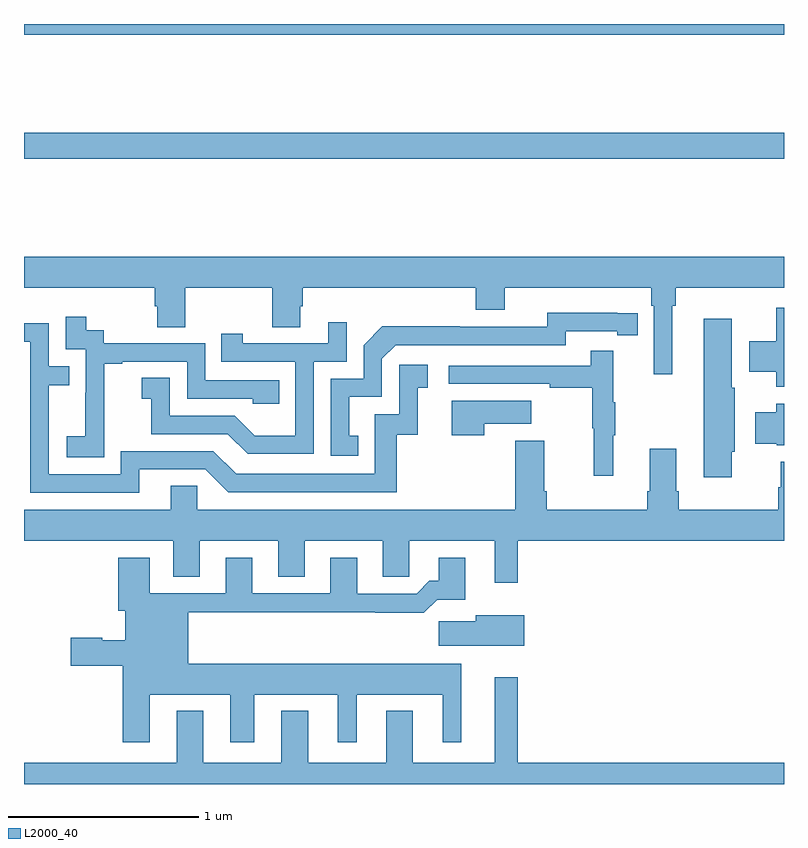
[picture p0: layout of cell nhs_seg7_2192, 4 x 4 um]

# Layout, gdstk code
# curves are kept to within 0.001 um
import gdstk
lib = gdstk.Library(unit=1e-6, precision=1e-09)
def R(c, l, rs):  # rectangles x0, y0, x1, y1
    for r in rs: c.add(gdstk.rectangle(r[:2], r[2:], *l))
def P(c, l, *ps):  # polygons
    for p in ps: c.add(gdstk.Polygon(p, *l))
L2000_40 = (2000, 40)

nhs_seg7_2192 = lib.new_cell('nhs_seg7_2192')
R(nhs_seg7_2192, L2000_40, [(255,1005.292,259,1005.428), (255,1005.944,259,1006)])
P(nhs_seg7_2192, L2000_40, [(258.412,1004.516),(258.431,1004.516),(258.431,1004.612),(259,1004.612),(259,1004.776),(255,1004.776),(255,1004.612),(255.689,1004.612),(255.689,1004.514),(255.701,1004.514),(255.701,1004.404),(255.849,1004.404),(255.849,1004.612),(256.306,1004.612),(256.306,1004.404),(256.453,1004.404),(256.453,1004.514),(256.466,1004.514),(256.466,1004.612),(257.378,1004.612),(257.378,1004.495),(257.53,1004.495),(257.53,1004.612),(258.302,1004.612),(258.302,1004.516),(258.315,1004.516),(258.315,1004.157),(258.412,1004.157)],
  [(259,1004.506),(258.959,1004.506),(258.959,1004.329),(258.816,1004.329),(258.816,1004.171),(258.959,1004.171),(258.959,1004.09),(259,1004.09)],
  [(256.76,1003.833),(256.711,1003.833),(256.711,1004.037),(256.884,1004.037),(256.884,1004.238),(256.956,1004.31),(257.85,1004.31),(257.85,1004.382),(258.122,1004.382),(258.122,1004.362),(258.23,1004.362),(258.23,1004.478),(257.754,1004.479),(257.754,1004.406),(257.294,1004.406),(257.294,1004.408),(256.886,1004.408),(256.788,1004.31),(256.788,1004.133),(256.614,1004.133),(256.614,1003.728),(256.76,1003.728)],
  [(255.423,1003.927),(255.422,1003.927),(255.422,1004.211),(255.517,1004.211),(255.517,1004.223),(255.858,1004.223),(255.858,1004.028),(256.203,1004.028),(256.203,1004.001),(256.343,1004.001),(256.343,1004.124),(255.954,1004.124),(255.954,1004.319),(255.42,1004.319),(255.42,1004.388),(255.328,1004.388),(255.328,1004.458),(255.219,1004.458),(255.219,1004.289),(255.324,1004.289),(255.324,1004.06),(255.323,1004.06),(255.323,1003.831),(255.225,1003.831),(255.225,1003.721),(255.423,1003.721)],
  [(258.724,1003.749),(258.742,1003.749),(258.742,1004.085),(258.724,1004.085),(258.724,1004.449),(258.578,1004.449),(258.578,1003.614),(258.724,1003.614)],
  [(256.524,1004.223),(256.698,1004.223),(256.698,1004.431),(256.601,1004.431),(256.601,1004.319),(256.15,1004.319),(256.15,1004.371),(256.039,1004.371),(256.039,1004.223),(256.428,1004.223),(256.428,1003.834),(256.214,1003.834),(256.11,1003.938),(255.768,1003.938),(255.768,1004.137),(255.621,1004.137),(255.621,1004.027),(255.67,1004.027),(255.67,1003.842),(256.073,1003.842),(256.178,1003.737),(256.524,1003.737)],
  [(255.607,1003.656),(255.954,1003.656),(256.074,1003.536),(256.961,1003.536),(256.961,1003.839),(257.072,1003.839),(257.072,1004.085),(257.125,1004.085),(257.125,1004.206),(256.974,1004.206),(256.974,1003.947),(256.845,1003.947),(256.845,1003.632),(256.116,1003.632),(255.996,1003.752),(255.51,1003.752),(255.51,1003.629),(255.129,1003.629),(255.129,1004.098),(255.239,1004.098),(255.239,1004.199),(255.129,1004.199),(255.129,1004.424),(255,1004.424),(255,1004.328),(255.033,1004.328),(255.033,1003.533),(255.607,1003.533)],
  [(258.101,1003.835),(258.112,1003.835),(258.112,1004.009),(258.101,1004.009),(258.101,1004.281),(257.983,1004.281),(257.983,1004.202),(257.235,1004.202),(257.235,1004.106),(257.767,1004.106),(257.767,1004.086),(257.991,1004.086),(257.991,1003.872),(257.998,1003.872),(257.998,1003.623),(258.101,1003.623)],
  [(257.423,1003.895),(257.671,1003.895),(257.671,1004.017),(257.252,1004.017),(257.252,1003.836),(257.423,1003.836)],
  [(259,1004.002),(258.959,1004.002),(258.959,1003.957),(258.848,1003.957),(258.848,1003.792),(258.963,1003.792),(258.963,1003.784),(259,1003.784)],
  [(257.599,1003.28),(259,1003.28),(259,1003.696),(258.983,1003.696),(258.983,1003.562),(258.971,1003.562),(258.971,1003.444),(258.446,1003.444),(258.446,1003.54),(258.433,1003.54),(258.433,1003.765),(258.293,1003.765),(258.293,1003.54),(258.281,1003.54),(258.281,1003.444),(257.75,1003.444),(257.75,1003.54),(257.737,1003.54),(257.737,1003.807),(257.585,1003.807),(257.585,1003.444),(255.912,1003.444),(255.912,1003.571),(255.773,1003.571),(255.773,1003.444),(255,1003.444),(255,1003.28),(255.785,1003.28),(255.785,1003.09),(255.925,1003.09),(255.925,1003.28),(256.337,1003.28),(256.337,1003.09),(256.477,1003.09),(256.477,1003.28),(256.889,1003.28),(256.889,1003.09),(257.028,1003.09),(257.028,1003.28),(257.477,1003.28),(257.477,1003.059),(257.599,1003.059)],
  [(255.661,1002.47),(256.085,1002.47),(256.085,1002.219),(256.213,1002.219),(256.213,1002.47),(256.652,1002.47),(256.652,1002.219),(256.75,1002.219),(256.75,1002.47),(257.204,1002.47),(257.204,1002.219),(257.302,1002.219),(257.302,1002.634),(255.865,1002.634),(255.865,1002.904),(256.849,1002.904),(256.849,1002.902),(257.105,1002.902),(257.174,1002.971),(257.323,1002.971),(257.323,1003.192),(257.183,1003.192),(257.183,1003.069),(257.134,1003.069),(257.067,1003.002),(256.753,1003.002),(256.753,1003.192),(256.613,1003.192),(256.613,1003.005),(256.201,1003.005),(256.201,1003.192),(256.061,1003.192),(256.061,1003.005),(255.661,1003.005),(255.661,1003.192),(255.497,1003.192),(255.497,1002.912),(255.533,1002.912),(255.533,1002.757),(255.413,1002.757),(255.413,1002.77),(255.246,1002.77),(255.246,1002.623),(255.521,1002.623),(255.521,1002.219),(255.661,1002.219)],
  [(257.632,1002.889),(257.378,1002.889),(257.378,1002.857),(257.184,1002.857),(257.184,1002.728),(257.632,1002.728)],
  [(259,1002.112),(257.599,1002.112),(257.599,1002.562),(257.477,1002.562),(257.477,1002.112),(257.047,1002.112),(257.047,1002.385),(256.907,1002.385),(256.907,1002.112),(256.495,1002.112),(256.495,1002.385),(256.355,1002.385),(256.355,1002.112),(255.943,1002.112),(255.943,1002.385),(255.803,1002.385),(255.803,1002.112),(255,1002.112),(255,1002),(259,1002)])

lib.write_gds('nhs_seg7_2192.gds')
